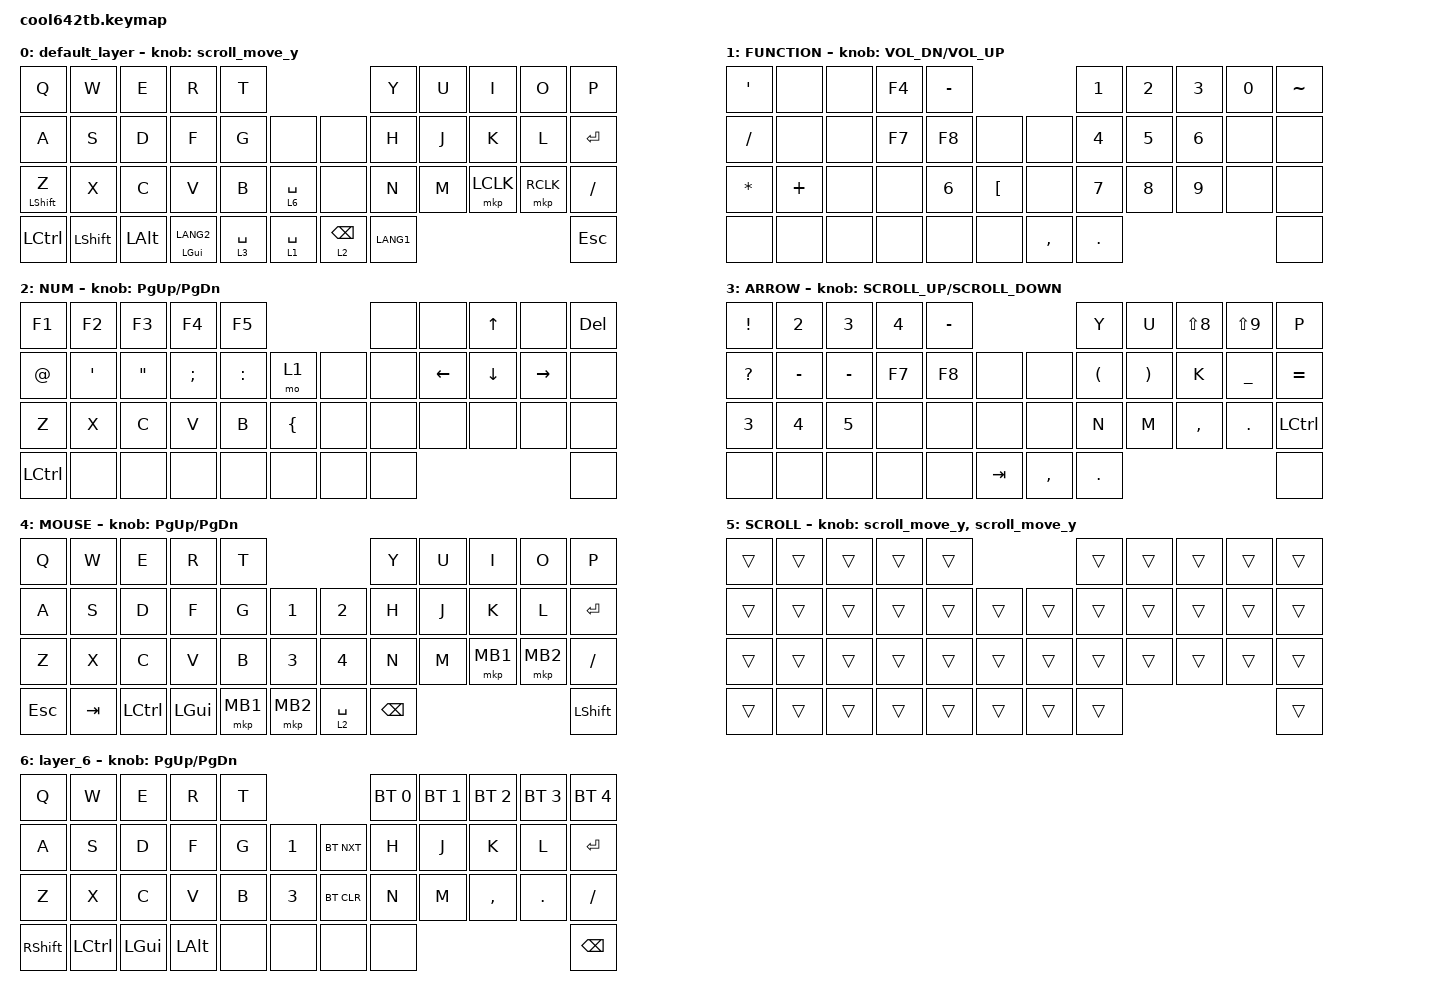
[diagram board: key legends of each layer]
#include <behaviors.dtsi>
#include <dt-bindings/zmk/bt.h>
#include <dt-bindings/zmk/keys.h>
#include <dt-bindings/zmk/pointing.h>

#define ZMK_POINTING_DEFAULT_SCRL_VAL 30
#define MOUSE 4
#define SCROLL 5
#define NUM 6

&mt {
    flavor = "balanced";
    quick-tap-ms = <0>;
};

/ {
    combos {
        compatible = "zmk,combos";

        down {
            bindings = <&msc SCRL_DOWN>;
            key-positions = <32 31>;
        };

        up {
            bindings = <&msc SCRL_UP>;
            key-positions = <20 19>;
        };

        left {
            bindings = <&msc SCRL_LEFT>;
            key-positions = <18 30>;
        };

        right {
            bindings = <&msc SCRL_RIGHT>;
            key-positions = <8 9>;
        };
    };

    macros {
        to_layer_0: to_layer_0 {
            compatible = "zmk,behavior-macro-one-param";
            #binding-cells = <1>;
            bindings = <&to 0 &macro_param_1to1 &kp MACRO_PLACEHOLDER>;
            label = "TO_LAYER_0";
        };
    };

    behaviors {
        lt_to_layer_0: lt_to_layer_0 {
            compatible = "zmk,behavior-hold-tap";
            label = "LAYER_TAP_TO_0";
            bindings = <&mo>, <&to_layer_0>;

            #binding-cells = <2>;
            tapping-term-ms = <200>;
        };

        scroll_up_down: behavior_sensor_rotate_mouse_wheel_up_down {
            compatible = "zmk,behavior-sensor-rotate";
            #sensor-binding-cells = <0>;
            bindings = <&msc SCRL_UP>, <&msc SCRL_DOWN>;

            tap-ms = <20>;
        };
    };

    // エンコーダー：キー

    rot_kp: sensor_rotate_kp {
        compatible = "zmk,behavior-sensor-rotate-var";
        #sensor-binding-cells = <2>;
        bindings = <&kp>, <&kp>;
    };

    // エンコーダー：マウススクロール 

    rot_msc: sensor_rotate_msc {
        compatible = "zmk,behavior-sensor-rotate-var";
        #sensor-binding-cells = <2>;
        tap-ms = <20>;
        bindings = <&msc>, <&msc>;

        label = "rot_msc";
    };

    // エンコーダー：マウススクロール(MOVE_Y)

    scroll_move_y: sensor_rotate_msc_for_move_y {
        compatible = "zmk,behavior-sensor-rotate";
        #sensor-binding-cells = <0>;
        bindings = <&msc MOVE_Y(20)>, <&msc MOVE_Y(-20)>;

        // tap-ms下限メモ Yの値で可変: Y(15) <81>, Y(20) <65>, Y(25) <49>

        tap-ms = <65>;
        label = "scroll_move_y";
    };

    // エンコーダー：マウススクロール(MOVE_X)

    scroll_move_x: sensor_rotate_msc_for_move_x {
        compatible = "zmk,behavior-sensor-rotate";
        #sensor-binding-cells = <0>;
        bindings = <&msc MOVE_X(20)>, <&msc MOVE_X(-20)>;

        // tap-ms下限メモ Xの値で可変: X(15) <81>, X(20) <65>, X(25) <49>

        tap-ms = <65>;
    };

    keymap {
        compatible = "zmk,keymap";

        default_layer {
            bindings = <
&kp Q             &kp W           &kp E         &kp R               &kp T                                      &kp Y      &kp U  &kp I      &kp O      &kp P
&kp A             &kp S           &kp D         &kp F               &kp G        &none        &none            &kp H      &kp J  &kp K      &kp L      &kp ENTER
&mt LEFT_SHIFT Z  &kp X           &kp C         &kp V               &kp B        &lt 6 SPACE  &none            &kp N      &kp M  &mkp LCLK  &mkp RCLK  &kp SLASH
&kp LEFT_CONTROL  &kp LEFT_SHIFT  &kp LEFT_ALT  &mt LEFT_GUI LANG2  &lt 3 SPACE  &lt 1 SPACE  &lt 2 BACKSPACE  &kp LANG1                               &kp ESC
            >;

            sensor-bindings = <&scroll_move_y>;
        };

        FUNCTION {
            bindings = <
&kp APOS      &none     &none  &kp F4  &kp MINUS                                  &kp N1      &kp N2        &kp NUMBER_3  &kp N0  &kp TILDE
&kp SLASH     &none     &none  &kp F7  &kp F8        &none             &none      &kp N4      &kp NUMBER_5  &kp N6        &none   &none
&kp ASTERISK  &kp PLUS  &none  &none   &kp NUMBER_6  &kp LEFT_BRACKET  &none      &kp N7      &kp N8        &kp N9        &none   &none
&none         &none     &none  &none   &none         &none             &kp COMMA  &kp PERIOD                                      &none
            >;

            sensor-bindings = <&inc_dec_kp C_VOL_DN C_VOL_UP>;
        };

        NUM {
            bindings = <
&kp F1       &kp F2   &kp F3             &kp F4         &kp F5                            &none  &none           &kp UP_ARROW    &none      &kp DELETE
&kp AT_SIGN  &kp SQT  &kp DOUBLE_QUOTES  &kp SEMICOLON  &kp COLON  &mo 1           &none  &none  &kp LEFT_ARROW  &kp DOWN_ARROW  &kp RIGHT  &none
&kp Z        &kp X    &kp C              &kp V          &kp B      &kp LEFT_BRACE  &none  &none  &none           &none           &none      &none
&kp LCTRL    &none    &none              &none          &none      &none           &none  &none                                             &none
            >;

            sensor-bindings = <&inc_dec_kp PG_UP PAGE_DOWN>;
        };

        ARROW {
            bindings = <
&kp EXCLAMATION  &kp N2     &kp N3     &kp NUMBER_4  &kp MINUS                      &kp Y                 &kp U                  &kp LS(N8)  &kp LS(N9)  &kp P
&kp QUESTION     &kp MINUS  &kp MINUS  &kp F7        &kp F8     &none    &none      &kp LEFT_PARENTHESIS  &kp RIGHT_PARENTHESIS  &kp K       &kp UNDER   &kp EQUAL
&kp N3           &kp N4     &kp N5     &none         &none      &none    &none      &kp N                 &kp M                  &kp COMMA   &kp PERIOD  &kp LCTRL
&none            &none      &none      &none         &none      &kp TAB  &kp COMMA  &kp PERIOD                                                           &none
            >;

            sensor-bindings = <&rot_kp K_SCROLL_UP K_SCROLL_DOWN>;
        };

        MOUSE {
            bindings = <
&kp Q       &kp W    &kp E             &kp R         &kp T                            &kp Y          &kp U  &kp I     &kp O     &kp P
&kp A       &kp S    &kp D             &kp F         &kp G     &kp N1    &kp N2       &kp H          &kp J  &kp K     &kp L     &kp ENTER
&kp Z       &kp X    &kp C             &kp V         &kp B     &kp N3    &kp N4       &kp N          &kp M  &mkp MB1  &mkp MB2  &kp SLASH
&kp ESCAPE  &kp TAB  &kp LEFT_CONTROL  &kp LEFT_GUI  &mkp MB1  &mkp MB2  &lt 2 SPACE  &kp BACKSPACE                             &kp LEFT_SHIFT
            >;

            sensor-bindings = <&inc_dec_kp PG_UP PAGE_DOWN>;
        };

        SCROLL {
            bindings = <
&trans  &trans  &trans  &trans  &trans                  &trans  &trans  &trans  &trans  &trans
&trans  &trans  &trans  &trans  &trans  &trans  &trans  &trans  &trans  &trans  &trans  &trans
&trans  &trans  &trans  &trans  &trans  &trans  &trans  &trans  &trans  &trans  &trans  &trans
&trans  &trans  &trans  &trans  &trans  &trans  &trans  &trans                          &trans
            >;

            sensor-bindings = <&scroll_move_y>, <&scroll_move_y>;
        };

        layer_6 {
            bindings = <
&kp Q       &kp W      &kp E     &kp R     &kp T                      &bt BT_SEL 0  &bt BT_SEL 1  &bt BT_SEL 2  &bt BT_SEL 3  &bt BT_SEL 4
&kp A       &kp S      &kp D     &kp F     &kp G  &kp N1  &bt BT_NXT  &kp H         &kp J         &kp K         &kp L         &kp ENTER
&kp Z       &kp X      &kp C     &kp V     &kp B  &kp N3  &bt BT_CLR  &kp N         &kp M         &kp COMMA     &kp PERIOD    &kp SLASH
&kp RSHIFT  &kp LCTRL  &kp LGUI  &kp LALT  &none  &none   &none       &none                                                   &kp BSPC
            >;

            sensor-bindings = <&inc_dec_kp PG_UP PAGE_DOWN>;
        };
    };
};
